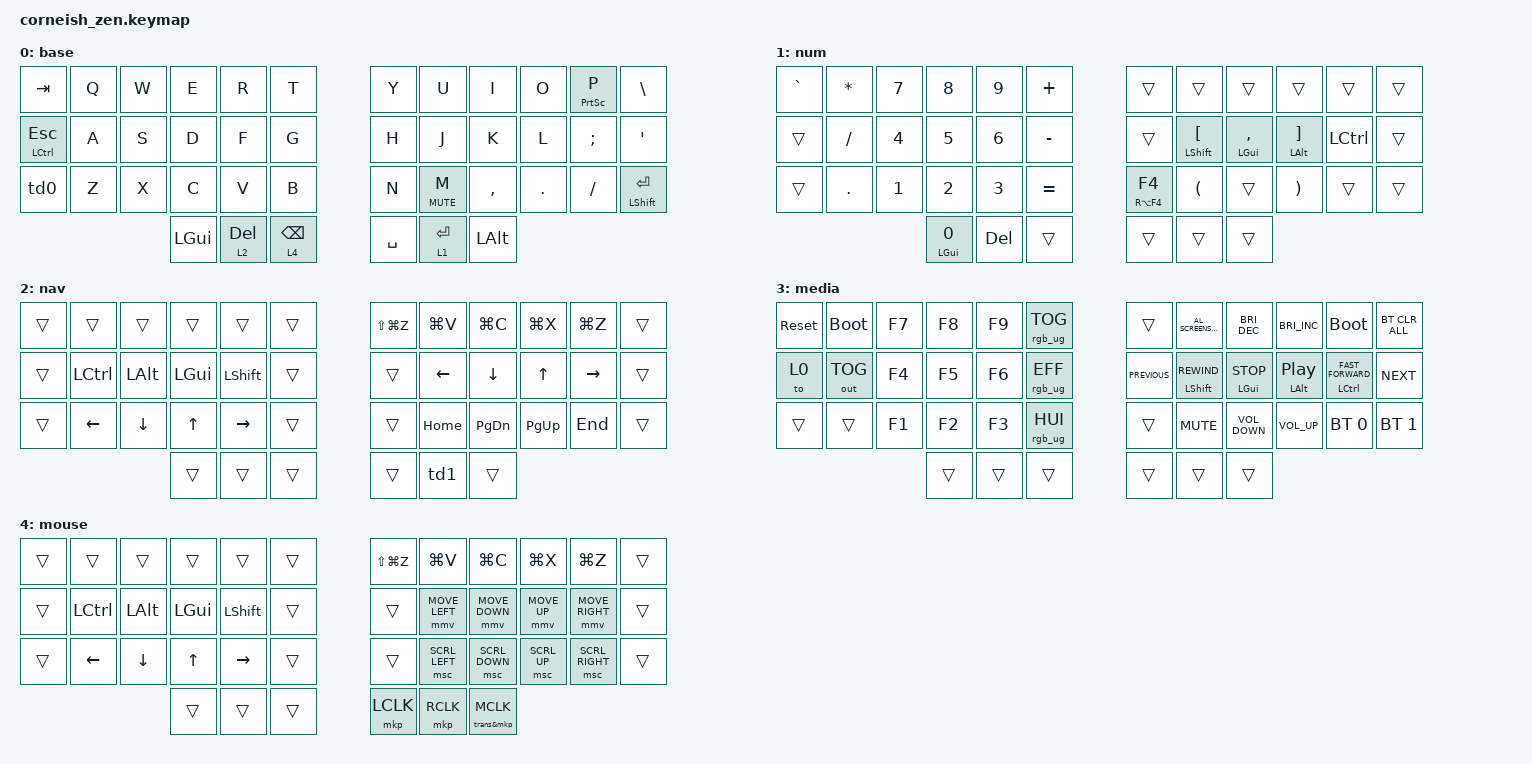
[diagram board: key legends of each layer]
/*
*
* Copyright (c) 2021 Darryl deHaan
* SPDX-License-Identifier: MIT
*
*/

#include <behaviors.dtsi>
#include <dt-bindings/zmk/keys.h>
#include <dt-bindings/zmk/bt.h>
#include <dt-bindings/zmk/ext_power.h>
#include <dt-bindings/zmk/outputs.h>
#include <dt-bindings/zmk/rgb.h>
#include <behaviors/mouse_keys.dtsi>
#include <dt-bindings/zmk/mouse.h>

/ {
    chosen {
        zmk,matrix_transform = &default_transform;
        // zmk,matrix_transform = &five_column_transform;
    };
};

&mt {
    tapping-term-ms = <200>;
    flavor = "tap-preferred";
};

/ {
    combos {
        compatible = "zmk,combos";

        combo_grave {
            bindings = <&kp GRAVE>;
            key-positions = <15 16>;
            layers = <0>;
        };
    };

    behaviors {
        td0: td0 {
            compatible = "zmk,behavior-tap-dance";
            label = "TD0";
            #binding-cells = <0>;
            bindings = <&kp LEFT_SHIFT>, <&kp CAPSLOCK>;
        };

        mth: mth {
            compatible = "zmk,behavior-hold-tap";
            label = "MTH";
            bindings = <&kp>, <&kp>;

            #binding-cells = <2>;
            tapping-term-ms = <200>;
            flavor = "hold-preferred";
        };

        td1: td1 {
            compatible = "zmk,behavior-tap-dance";
            label = "TD1";
            #binding-cells = <0>;
            bindings = <&lt 3 ENTER>, <&to 3>;
        };
    };

    keymap {
        compatible = "zmk,keymap";

        base {
            // -----------------------------------------------------------------------------------------
            // |  TAB |  Q  |  W  |  E  |  R  |  T  |   |  Y  |  U   |  I  |  O  |  P  | BKSP |
            // | CTRL |  A  |  S  |  D  |  F  |  G  |   |  H  |  J   |  K  |  L  |  ;  |  '   |
            // | SHFT |  Z  |  X  |  C  |  V  |  B  |   |  N  |  M   |  ,  |  .  |  /  | ESC  |
            //                    | GUI | LWR | SPC |   | ENT | RSE  | ALT |

            bindings = <
&kp TAB                  &kp Q  &kp W  &kp E     &kp R      &kp T                &kp Y      &kp U         &kp I         &kp O    &mt PRINTSCREEN P  &kp BSLH
&mt LEFT_CONTROL ESCAPE  &kp A  &kp S  &kp D     &kp F      &kp G                &kp H      &kp J         &kp K         &kp L    &kp SEMI           &kp SQT
&td0                     &kp Z  &kp X  &kp C     &kp V      &kp B                &kp N      &mt C_MUTE M  &kp COMMA     &kp DOT  &kp FSLH           &mth LEFT_SHIFT ENTER
                                       &kp LGUI  &lt 2 DEL  &lt 4 BACKSPACE      &kp SPACE  &lt 1 ENTER   &kp LEFT_ALT
            >;
        };

        num {
            bindings = <
&kp GRAVE  &kp ASTERISK  &kp N7        &kp N8           &kp N9        &kp PLUS     &trans         &trans                       &trans              &trans                      &trans     &trans
&trans     &kp SLASH     &kp NUMBER_4  &kp N5           &kp NUMBER_6  &kp MINUS    &trans         &mt LEFT_SHIFT LEFT_BRACKET  &mt LEFT_GUI COMMA  &mt LEFT_ALT RIGHT_BRACKET  &kp LCTRL  &trans
&trans     &kp PERIOD    &kp NUMBER_1  &kp NUMBER_2     &kp NUMBER_3  &kp EQUAL    &mt RA(F4) F4  &kp LEFT_PARENTHESIS         &trans              &kp RIGHT_PARENTHESIS       &trans     &trans
                                       &mt LEFT_GUI N0  &kp DELETE    &trans       &trans         &trans                       &trans
            >;
        };

        nav {
            bindings = <
&trans  &trans     &trans        &trans        &trans          &trans    &kp LS(LG(Z))  &kp LG(V)  &kp LG(C)      &kp LG(X)     &kp LG(Z)  &trans
&trans  &kp LCTRL  &kp LEFT_ALT  &kp LEFT_GUI  &kp LEFT_SHIFT  &trans    &trans         &kp LEFT   &kp DOWN       &kp UP_ARROW  &kp RIGHT  &trans
&trans  &kp LEFT   &kp DOWN      &kp UP        &kp RIGHT       &trans    &trans         &kp HOME   &kp PAGE_DOWN  &kp PAGE_UP   &kp END    &trans
                                 &trans        &trans          &trans    &trans         &td1       &trans
            >;
        };

        media {
            bindings = <
&sys_reset  &bootloader   &kp F7  &kp F8  &kp F9  &rgb_ug RGB_TOG    &trans          &kp C_AL_SCREENSAVER     &kp C_BRIGHTNESS_DEC  &kp C_BRIGHTNESS_INC       &bootloader               &bt BT_CLR_ALL
&to 0       &out OUT_TOG  &kp F4  &kp F5  &kp F6  &rgb_ug RGB_EFF    &kp C_PREVIOUS  &mt LEFT_SHIFT C_REWIND  &mt LEFT_GUI C_STOP   &mt LEFT_ALT C_PLAY_PAUSE  &mt LCTRL C_FAST_FORWARD  &kp C_NEXT
&trans      &trans        &kp F1  &kp F2  &kp F3  &rgb_ug RGB_HUI    &trans          &kp C_MUTE               &kp C_VOLUME_DOWN     &kp C_VOLUME_UP            &bt BT_SEL 0              &bt BT_SEL 1
                                  &trans  &trans  &trans             &trans          &trans                   &trans
            >;
        };

         mouse {
            bindings = <
&trans  &trans     &trans        &trans        &trans          &trans    &kp LS(LG(Z))  &kp LG(V)        &kp LG(C)            &kp LG(X)     &kp LG(Z)        &trans
&trans  &kp LCTRL  &kp LEFT_ALT  &kp LEFT_GUI  &kp LEFT_SHIFT  &trans    &trans         &mmv MOVE_LEFT   &mmv MOVE_DOWN       &mmv MOVE_UP  &mmv MOVE_RIGHT  &trans
&trans  &kp LEFT   &kp DOWN      &kp UP        &kp RIGHT       &trans    &trans         &msc SCRL_LEFT   &msc SCRL_DOWN       &msc SCRL_UP  &msc SCRL_RIGHT  &trans
                                 &trans        &trans          &trans    &mkp LCLK      &mkp RCLK        &trans&mkp MCLK
            >;
        };

};
};
